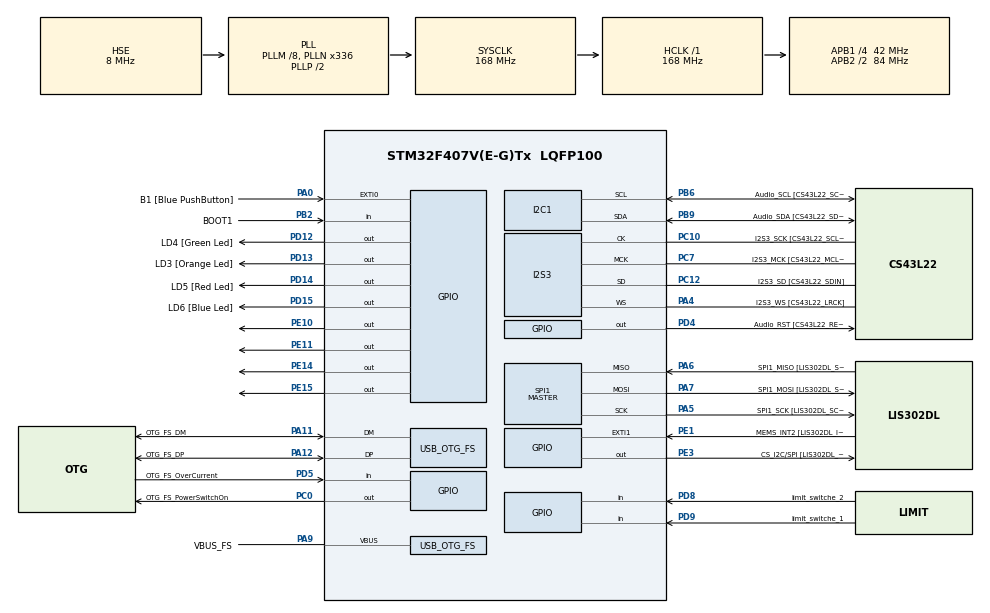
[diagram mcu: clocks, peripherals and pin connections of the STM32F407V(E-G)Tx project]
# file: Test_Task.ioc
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I2S3.AudioFreq-Half_Duplex_Master=I2S_AUDIOFREQ_96K
I2S3.ErrorAudioFreq=-2.34 %
I2S3.ErrorAudioFreq-Half_Duplex_Master=0.8 %
I2S3.FullDuplexMode=I2S_FULLDUPLEXMODE_DISABLE
I2S3.Instance=SPI$Index
I2S3.RealAudioFreq=93.75 KHz
I2S3.RealAudioFreq-Half_Duplex_Master=96.774 KHz
I2S3.VirtualMode=I2S_MODE_MASTER
Mcu.Family=STM32F4
Mcu.Name=STM32F407V(E-G)Tx
Mcu.Package=LQFP100
NVIC.OTG_FS_IRQn=true\:0\:0\:false\:false\:true\:true\:true\:true
NVIC.PriorityGroup=NVIC_PRIORITYGROUP_0
PA0-WKUP.GPIO_Label=B1 [Blue PushButton]
PA0-WKUP.GPIO_ModeDefaultEXTI=GPIO_MODE_EVT_RISING
PA0-WKUP.GPIO_PuPd=GPIO_NOPULL
PA0-WKUP.Signal=GPXTI0
PA10.GPIO_Label=OTG_FS_ID
PA10.GPIO_Mode=GPIO_MODE_AF_PP
PA10.GPIO_PuPd=GPIO_NOPULL
PA10.GPIO_Speed=GPIO_SPEED_FREQ_LOW
PA10.Signal=USB_OTG_FS_ID
PA11.GPIO_Label=OTG_FS_DM
PA11.GPIO_Mode=GPIO_MODE_AF_PP
PA11.GPIO_PuPd=GPIO_NOPULL
PA11.GPIO_Speed=GPIO_SPEED_FREQ_LOW
PA11.Mode=Host_Only
PA11.Signal=USB_OTG_FS_DM
PA12.GPIO_Label=OTG_FS_DP
PA12.GPIO_Mode=GPIO_MODE_AF_PP
PA12.GPIO_PuPd=GPIO_NOPULL
PA12.GPIO_Speed=GPIO_SPEED_FREQ_LOW
PA12.Mode=Host_Only
PA12.Signal=USB_OTG_FS_DP
PA13.GPIO_Label=SWDIO
PA13.Mode=Serial_Wire
PA13.Signal=SYS_JTMS-SWDIO
PA14.GPIO_Label=SWCLK
PA14.Mode=Serial_Wire
PA14.Signal=SYS_JTCK-SWCLK
PA4.GPIO_Label=I2S3_WS [CS43L22_LRCK]
PA4.GPIO_Mode=GPIO_MODE_AF_PP
PA4.GPIO_PuPd=GPIO_NOPULL
PA4.GPIO_Speed=GPIO_SPEED_FREQ_LOW
PA4.Mode=Half_Duplex_Master
PA4.Signal=I2S3_WS
PA5.GPIO_Label=SPI1_SCK [LIS302DL_SCL/SPC]
PA5.GPIO_Mode=GPIO_MODE_AF_PP
PA5.GPIO_PuPd=GPIO_NOPULL
PA5.GPIO_Speed=GPIO_SPEED_FREQ_LOW
PA5.Mode=Full_Duplex_Master
PA5.Signal=SPI1_SCK
PA6.GPIO_Label=SPI1_MISO [LIS302DL_SDO]
PA6.GPIO_Mode=GPIO_MODE_AF_PP
PA6.GPIO_PuPd=GPIO_NOPULL
PA6.GPIO_Speed=GPIO_SPEED_FREQ_LOW
PA6.Mode=Full_Duplex_Master
PA6.Signal=SPI1_MISO
PA7.GPIO_Label=SPI1_MOSI [LIS302DL_SDA/SDI/SDO]
PA7.GPIO_Mode=GPIO_MODE_AF_PP
PA7.GPIO_PuPd=GPIO_NOPULL
PA7.GPIO_Speed=GPIO_SPEED_FREQ_LOW
PA7.Mode=Full_Duplex_Master
PA7.Signal=SPI1_MOSI
PA9.GPIO_Label=VBUS_FS
PA9.GPIO_Mode=GPIO_MODE_INPUT
PA9.GPIO_PuPd=GPIO_NOPULL
PA9.Mode=Activate_VBUS
PA9.Signal=USB_OTG_FS_VBUS
PB10.GPIO_Label=CLK_IN [MP45DT02_CLK]
PB10.GPIO_Mode=GPIO_MODE_AF_PP
PB10.GPIO_PuPd=GPIO_NOPULL
PB10.GPIO_Speed=GPIO_SPEED_FREQ_LOW
PB10.Signal=I2S2_CK
PB2.GPIO_Label=BOOT1
PB2.GPIO_Mode=GPIO_MODE_INPUT
PB2.GPIO_PuPd=GPIO_NOPULL
PB2.Signal=GPIO_Input
PB3.GPIO_Label=SWO
PB3.Signal=SYS_JTDO-SWO
PB6.GPIO_Label=Audio_SCL [CS43L22_SCL]
PB6.GPIO_Mode=GPIO_MODE_AF_OD
PB6.GPIO_Pu=GPIO_PULLUP
PB6.GPIO_PuPd=GPIO_NOPULL
PB6.GPIO_Speed=GPIO_SPEED_FREQ_LOW
PB6.Mode=I2C
PB6.Signal=I2C1_SCL
PB9.GPIO_Label=Audio_SDA [CS43L22_SDA]
PB9.GPIO_Mode=GPIO_MODE_AF_OD
PB9.GPIO_Pu=GPIO_PULLUP
PB9.GPIO_PuPd=GPIO_NOPULL
PB9.GPIO_Speed=GPIO_SPEED_FREQ_LOW
PB9.Mode=I2C
PB9.Signal=I2C1_SDA
PC0.GPIO_Label=OTG_FS_PowerSwitchOn
PC0.GPIO_PuPd=GPIO_NOPULL
PC0.GPIO_Speed=GPIO_SPEED_FREQ_LOW
PC0.PinState=GPIO_PIN_SET
PC0.Signal=GPIO_Output
PC10.GPIO_Label=I2S3_SCK [CS43L22_SCLK]
PC10.GPIO_Mode=GPIO_MODE_AF_PP
PC10.GPIO_PuPd=GPIO_NOPULL
PC10.GPIO_Speed=GPIO_SPEED_FREQ_LOW
PC10.Mode=Half_Duplex_Master
PC10.Signal=I2S3_CK
PC12.GPIO_Label=I2S3_SD [CS43L22_SDIN]
PC12.GPIO_Mode=GPIO_MODE_AF_PP
PC12.GPIO_PuPd=GPIO_NOPULL
PC12.GPIO_Speed=GPIO_SPEED_FREQ_LOW
PC12.Mode=Half_Duplex_Master
PC12.Signal=I2S3_SD
PC14-OSC32_IN.GPIO_Label=PC14-OSC32_IN
PC14-OSC32_IN.Mode=LSE-External-Oscillator
PC14-OSC32_IN.Signal=RCC_OSC32_IN
PC15-OSC32_OUT.GPIO_Label=PC15-OSC32_OUT
PC15-OSC32_OUT.Mode=LSE-External-Oscillator
PC15-OSC32_OUT.Signal=RCC_OSC32_OUT
PC3.GPIO_Label=PDM_OUT [MP45DT02_DOUT]
PC3.GPIO_Mode=GPIO_MODE_AF_PP
PC3.GPIO_PuPd=GPIO_NOPULL
PC3.GPIO_Speed=GPIO_SPEED_FREQ_LOW
PC3.Signal=I2S2_SD
PC7.GPIO_Label=I2S3_MCK [CS43L22_MCLK]
PC7.GPIO_Mode=GPIO_MODE_AF_PP
PC7.GPIO_PuPd=GPIO_NOPULL
PC7.GPIO_Speed=GPIO_SPEED_FREQ_LOW
PC7.Mode=Master_Clock_Activated
PC7.Signal=I2S3_MCK
PD12.GPIO_Label=LD4 [Green Led]
PD12.GPIO_PuPd=GPIO_NOPULL
PD12.GPIO_Speed=GPIO_SPEED_FREQ_LOW
PD12.Signal=GPIO_Output
PD13.GPIO_Label=LD3 [Orange Led]
PD13.GPIO_PuPd=GPIO_NOPULL
PD13.GPIO_Speed=GPIO_SPEED_FREQ_LOW
PD13.Signal=GPIO_Output
PD14.GPIO_Label=LD5 [Red Led]
PD14.GPIO_PuPd=GPIO_NOPULL
PD14.GPIO_Speed=GPIO_SPEED_FREQ_LOW
PD14.Signal=GPIO_Output
PD15.GPIO_Label=LD6 [Blue Led]
PD15.GPIO_PuPd=GPIO_NOPULL
PD15.GPIO_Speed=GPIO_SPEED_FREQ_LOW
PD15.Signal=GPIO_Output
PD4.GPIO_Label=Audio_RST [CS43L22_RESET]
PD4.GPIO_PuPd=GPIO_NOPULL
PD4.GPIO_Speed=GPIO_SPEED_FREQ_LOW
PD4.Signal=GPIO_Output
PD5.GPIO_Label=OTG_FS_OverCurrent
PD5.GPIO_Mode=GPIO_MODE_INPUT
PD5.GPIO_PuPd=GPIO_NOPULL
PD5.Signal=GPIO_Input
PD8.GPIO_Label=limit_switche_2
PD8.Signal=GPIO_Input
PD9.GPIO_Label=limit_switche_1
PD9.Signal=GPIO_Input
PE1.GPIO_Label=MEMS_INT2 [LIS302DL_INT2]
PE1.GPIO_ModeDefaultEXTI=GPIO_MODE_EVT_RISING
PE1.GPIO_PuPd=GPIO_NOPULL
PE1.Signal=GPXTI1
PE10.Signal=GPIO_Output
PE11.Signal=GPIO_Output
PE14.Signal=GPIO_Output
PE15.Signal=GPIO_Output
PE3.GPIO_Label=CS_I2C/SPI [LIS302DL_CS_I2C/SPI]
PE3.GPIO_PuPd=GPIO_NOPULL
PE3.GPIO_Speed=GPIO_SPEED_FREQ_LOW
PE3.Signal=GPIO_Output
PH0-OSC_IN.GPIO_Label=PH0-OSC_IN
PH0-OSC_IN.Mode=HSE-External-Oscillator
PH0-OSC_IN.Signal=RCC_OSC_IN
PH1-OSC_OUT.GPIO_Label=PH1-OSC_OUT
PH1-OSC_OUT.Mode=HSE-External-Oscillator
PH1-OSC_OUT.Signal=RCC_OSC_OUT
ProjectManager.HeapSize=0x200
ProjectManager.StackSize=0x400
ProjectManager.TargetToolchain=STM32CubeIDE
RCC.48MHZClocksFreq_Value=48000000
RCC.AHBFreq_Value=168000000
RCC.APB1CLKDivider=RCC_HCLK_DIV4
RCC.APB1Freq_Value=42000000
RCC.APB1TimFreq_Value=84000000
RCC.APB2CLKDivider=RCC_HCLK_DIV2
RCC.APB2Freq_Value=84000000
RCC.APB2TimFreq_Value=168000000
RCC.CortexFreq_Value=168000000
RCC.HCLKFreq_Value=168000000
RCC.HSE_VALUE=8000000
RCC.HSI_VALUE=16000000
RCC.PLLM=8
RCC.PLLN=336
RCC.PLLQ=7
RCC.SYSCLKFreq_VALUE=168000000
RCC.SYSCLKSource=RCC_SYSCLKSOURCE_PLLCLK
RCC.VCOOutputFreq_Value=336000000
SPI1.BaudRatePrescaler-Full_Duplex_Master=SPI_BAUDRATEPRESCALER_2
SPI1.CalculateBaudRate-Full_Duplex_Master=42.0 MBits/s
SPI1.Direction=SPI_DIRECTION_2LINES
SPI1.Mode=SPI_MODE_MASTER
SPI1.Mode-Full_Duplex_Master=SPI_MODE_MASTER
SPI1.VirtualType=VM_MASTER
USB_HOST.BSP.number=1
USB_HOST.USBH_HandleTypeDef-CDC_FS=hUsbHostFS
USB_HOST.VirtualModeFS=Cdc
USB_HOST0.BSP.STBoard=false
USB_HOST0.BSP.api=Unknown
USB_HOST0.BSP.instance=PC0
USB_HOST0.BSP.ip=GPIO
USB_HOST0.BSP.mode=Output
USB_HOST0.BSP.name=Drive_VBUS_FS
USB_HOST0.BSP.solution=PC0
USB_OTG_FS.VirtualMode=Host_Only
USB_OTG_FS.phy_itface=HCD_PHY_EMBEDDED
VP_USB_HOST_VS_USB_HOST_CDC_FS.Mode=CDC_FS
board=STM32F407G-DISC1

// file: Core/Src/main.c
/* USER CODE BEGIN Header */
/**
  ******************************************************************************
  * @file           : main.c
  * @brief          : Main program body
  ******************************************************************************
  * @attention
  *
  * Copyright (c) 2025 STMicroelectronics.
  * All rights reserved.
  *
  * This software is licensed under terms that can be found in the LICENSE file
  * in the root directory of this software component.
  * If no LICENSE file comes with this software, it is provided AS-IS.
  *
  ******************************************************************************
  */
/* USER CODE END Header */
#include "main.h"
#include "usb_host.h"

/* USER CODE BEGIN Includes */
#include "homing.h"
#include "homing_porting.h"
#include "hw_simulation.h"
/* USER CODE END Includes */

I2C_HandleTypeDef hi2c1;

I2S_HandleTypeDef hi2s3;

SPI_HandleTypeDef hspi1;

/* USER CODE BEGIN PV */
static HomingCtx_t homing;
static bool test_running = false;
volatile HomingState_t debug_current_state = HOMING_STATE_IDLE;

/* USER CODE END PV */

void SystemClock_Config(void);
static void MX_GPIO_Init(void);
static void MX_I2C1_Init(void);
static void MX_I2S3_Init(void);
static void MX_SPI1_Init(void);
void MX_USB_HOST_Process(void);

int main(void)
{

  /* MCU Configuration--------------------------------------------------------*/

  /* Reset of all peripherals, Initializes the Flash interface and the Systick. */
  HAL_Init();

  /* Configure the system clock */
  SystemClock_Config();

  /* Initialize all configured peripherals */
  MX_GPIO_Init();
  MX_I2C1_Init();
  MX_I2S3_Init();
  MX_SPI1_Init();
  MX_USB_HOST_Init();
  /* USER CODE BEGIN 2 */
  Homing_Init(&homing);
  GPIO_InitTypeDef GPIO_InitStruct = {0};
  __HAL_RCC_GPIOE_CLK_ENABLE();
  GPIO_InitStruct.Pin = GPIO_PIN_10|GPIO_PIN_11;
  GPIO_InitStruct.Mode = GPIO_MODE_OUTPUT_PP;
  GPIO_InitStruct.Pull = GPIO_NOPULL;
  GPIO_InitStruct.Speed = GPIO_SPEED_FREQ_LOW;
  HAL_GPIO_Init(GPIOE, &GPIO_InitStruct);

  /* USER CODE END 2 */

  /* Infinite loop */
  /* USER CODE BEGIN WHILE */

//  Homing_Start(&homing);
  /* USER CODE BEGIN WHILE */
  /* Replace your while(1) loop with this corrected version */

  while (1) {
      uint32_t now = HAL_GetTick();

      // Auto-start test after 3 seconds
      if (!test_running && now > 3000) {
          test_running = true;
          Homing_Start(&homing);
      }
      HW_SimulationUpdate(now);

      // Run homing step
      if (test_running) {
    	  Homing_Update(&homing);
      }

      // LED indication
      HomingState_t state = Homing_GetState(&homing);
      HAL_GPIO_WritePin(GPIOD, LD3_Pin|LD4_Pin|LD5_Pin|LD6_Pin, GPIO_PIN_RESET);

      switch (state) {
      	  case HOMING_STATE_IDLE:
                   // All LEDs OFF
      		  HAL_GPIO_WritePin(GPIOD, LD3_Pin | LD5_Pin | LD6_Pin | LD4_Pin, GPIO_PIN_RESET);
              break;
          case HOMING_STATE_MOVE_TO_LEFT:
          case HOMING_STATE_MOVE_TO_LEFT_MEASURE:
              HAL_GPIO_WritePin(GPIOD, LD3_Pin, GPIO_PIN_SET);   // Orange
              break;

          case HOMING_STATE_MOVE_TO_RIGHT_MEASURE:
              HAL_GPIO_WritePin(GPIOD, LD6_Pin|LD5_Pin, GPIO_PIN_SET); // Blue+Red
              if (HW_RightSwitchRaw()) {
                  HAL_GPIO_WritePin(GPIOD, LD4_Pin, GPIO_PIN_SET);
              }
              break;

          case HOMING_STATE_MOVE_TO_MIDDLE:
              HAL_GPIO_WritePin(GPIOD, LD6_Pin, GPIO_PIN_SET);   // Blue only
              break;

          case HOMING_STATE_DONE:
              HAL_GPIO_WritePin(GPIOD, LD4_Pin, GPIO_PIN_SET);   // Green
              static uint32_t success_start = 0;
              if (success_start == 0) success_start = now;
              if (now - success_start > 5000) {
                  test_running = false;
                  success_start = 0;

                  Homing_Init(&homing); // Restarts the test cleanly
              }
              break;
          case HOMING_STATE_ERROR:
              HAL_GPIO_WritePin(GPIOD, LD3_Pin|LD4_Pin|LD5_Pin|LD6_Pin, GPIO_PIN_SET);
              static uint32_t error_start = 0;
              if (error_start == 0) error_start = now;
              if (now - error_start > 2000) {
                  test_running = false;
                  error_start = 0;
                  Homing_Init(&homing);
              }
              break;
      }

      HAL_Delay(100);
  }
  /* USER CODE END WHILE */
  /* USER CODE END 3 */
}

void SystemClock_Config(void)
{
  RCC_OscInitTypeDef RCC_OscInitStruct = {0};
  RCC_ClkInitTypeDef RCC_ClkInitStruct = {0};

  /** Configure the main internal regulator output voltage
  */
  __HAL_RCC_PWR_CLK_ENABLE();
  __HAL_PWR_VOLTAGESCALING_CONFIG(PWR_REGULATOR_VOLTAGE_SCALE1);

  /** Initializes the RCC Oscillators according to the specified parameters
  * in the RCC_OscInitTypeDef structure.
  */
  RCC_OscInitStruct.OscillatorType = RCC_OSCILLATORTYPE_HSE;
  RCC_OscInitStruct.HSEState = RCC_HSE_ON;
  RCC_OscInitStruct.PLL.PLLState = RCC_PLL_ON;
  RCC_OscInitStruct.PLL.PLLSource = RCC_PLLSOURCE_HSE;
  RCC_OscInitStruct.PLL.PLLM = 8;
  RCC_OscInitStruct.PLL.PLLN = 336;
  RCC_OscInitStruct.PLL.PLLP = RCC_PLLP_DIV2;
  RCC_OscInitStruct.PLL.PLLQ = 7;
  if (HAL_RCC_OscConfig(&RCC_OscInitStruct) != HAL_OK)
  {
    Error_Handler();
  }

  /** Initializes the CPU, AHB and APB buses clocks
  */
  RCC_ClkInitStruct.ClockType = RCC_CLOCKTYPE_HCLK|RCC_CLOCKTYPE_SYSCLK
                              |RCC_CLOCKTYPE_PCLK1|RCC_CLOCKTYPE_PCLK2;
  RCC_ClkInitStruct.SYSCLKSource = RCC_SYSCLKSOURCE_PLLCLK;
  RCC_ClkInitStruct.AHBCLKDivider = RCC_SYSCLK_DIV1;
  RCC_ClkInitStruct.APB1CLKDivider = RCC_HCLK_DIV4;
  RCC_ClkInitStruct.APB2CLKDivider = RCC_HCLK_DIV2;

  if (HAL_RCC_ClockConfig(&RCC_ClkInitStruct, FLASH_LATENCY_5) != HAL_OK)
  {
    Error_Handler();
  }
}

static void MX_I2C1_Init(void)
{

  hi2c1.Instance = I2C1;
  hi2c1.Init.ClockSpeed = 100000;
  hi2c1.Init.DutyCycle = I2C_DUTYCYCLE_2;
  hi2c1.Init.OwnAddress1 = 0;
  hi2c1.Init.AddressingMode = I2C_ADDRESSINGMODE_7BIT;
  hi2c1.Init.DualAddressMode = I2C_DUALADDRESS_DISABLE;
  hi2c1.Init.OwnAddress2 = 0;
  hi2c1.Init.GeneralCallMode = I2C_GENERALCALL_DISABLE;
  hi2c1.Init.NoStretchMode = I2C_NOSTRETCH_DISABLE;
  if (HAL_I2C_Init(&hi2c1) != HAL_OK)
  {
    Error_Handler();
  }

}

static void MX_I2S3_Init(void)
{

  hi2s3.Instance = SPI3;
  hi2s3.Init.Mode = I2S_MODE_MASTER_TX;
  hi2s3.Init.Standard = I2S_STANDARD_PHILIPS;
  hi2s3.Init.DataFormat = I2S_DATAFORMAT_16B;
  hi2s3.Init.MCLKOutput = I2S_MCLKOUTPUT_ENABLE;
  hi2s3.Init.AudioFreq = I2S_AUDIOFREQ_96K;
  hi2s3.Init.CPOL = I2S_CPOL_LOW;
  hi2s3.Init.ClockSource = I2S_CLOCK_PLL;
  hi2s3.Init.FullDuplexMode = I2S_FULLDUPLEXMODE_DISABLE;
  if (HAL_I2S_Init(&hi2s3) != HAL_OK)
  {
    Error_Handler();
  }

}

static void MX_SPI1_Init(void)
{

  /* SPI1 parameter configuration*/
  hspi1.Instance = SPI1;
  hspi1.Init.Mode = SPI_MODE_MASTER;
  hspi1.Init.Direction = SPI_DIRECTION_2LINES;
  hspi1.Init.DataSize = SPI_DATASIZE_8BIT;
  hspi1.Init.CLKPolarity = SPI_POLARITY_LOW;
  hspi1.Init.CLKPhase = SPI_PHASE_1EDGE;
  hspi1.Init.NSS = SPI_NSS_SOFT;
  hspi1.Init.BaudRatePrescaler = SPI_BAUDRATEPRESCALER_2;
  hspi1.Init.FirstBit = SPI_FIRSTBIT_MSB;
  hspi1.Init.TIMode = SPI_TIMODE_DISABLE;
  hspi1.Init.CRCCalculation = SPI_CRCCALCULATION_DISABLE;
  hspi1.Init.CRCPolynomial = 10;
  if (HAL_SPI_Init(&hspi1) != HAL_OK)
  {
    Error_Handler();
  }

}

static void MX_GPIO_Init(void)
{
  GPIO_InitTypeDef GPIO_InitStruct = {0};

  /* GPIO Ports Clock Enable */
  __HAL_RCC_GPIOE_CLK_ENABLE();
  __HAL_RCC_GPIOC_CLK_ENABLE();
  __HAL_RCC_GPIOH_CLK_ENABLE();
  __HAL_RCC_GPIOA_CLK_ENABLE();
  __HAL_RCC_GPIOB_CLK_ENABLE();
  __HAL_RCC_GPIOD_CLK_ENABLE();

  /*Configure GPIO pin Output Level */
  HAL_GPIO_WritePin(GPIOE, CS_I2C_SPI_Pin|GPIO_PIN_10|GPIO_PIN_11|GPIO_PIN_14
                          |GPIO_PIN_15, GPIO_PIN_RESET);

  /*Configure GPIO pin Output Level */
  HAL_GPIO_WritePin(OTG_FS_PowerSwitchOn_GPIO_Port, OTG_FS_PowerSwitchOn_Pin, GPIO_PIN_SET);

  /*Configure GPIO pin Output Level */
  HAL_GPIO_WritePin(GPIOD, LD4_Pin|LD3_Pin|LD5_Pin|LD6_Pin
                          |Audio_RST_Pin, GPIO_PIN_RESET);

  /*Configure GPIO pins : CS_I2C_SPI_Pin PE10 PE11 PE14
                           PE15 */
  GPIO_InitStruct.Pin = CS_I2C_SPI_Pin|GPIO_PIN_10|GPIO_PIN_11|GPIO_PIN_14
                          |GPIO_PIN_15;
  GPIO_InitStruct.Mode = GPIO_MODE_OUTPUT_PP;
  GPIO_InitStruct.Pull = GPIO_NOPULL;
  GPIO_InitStruct.Speed = GPIO_SPEED_FREQ_LOW;
  HAL_GPIO_Init(GPIOE, &GPIO_InitStruct);

  /*Configure GPIO pin : OTG_FS_PowerSwitchOn_Pin */
  GPIO_InitStruct.Pin = OTG_FS_PowerSwitchOn_Pin;
  GPIO_InitStruct.Mode = GPIO_MODE_OUTPUT_PP;
  GPIO_InitStruct.Pull = GPIO_NOPULL;
  GPIO_InitStruct.Speed = GPIO_SPEED_FREQ_LOW;
  HAL_GPIO_Init(OTG_FS_PowerSwitchOn_GPIO_Port, &GPIO_InitStruct);

  /*Configure GPIO pin : PDM_OUT_Pin */
  GPIO_InitStruct.Pin = PDM_OUT_Pin;
  GPIO_InitStruct.Mode = GPIO_MODE_AF_PP;
  GPIO_InitStruct.Pull = GPIO_NOPULL;
  GPIO_InitStruct.Speed = GPIO_SPEED_FREQ_LOW;
  GPIO_InitStruct.Alternate = GPIO_AF5_SPI2;
  HAL_GPIO_Init(PDM_OUT_GPIO_Port, &GPIO_InitStruct);

  /*Configure GPIO pin : B1_Pin */

  GPIO_InitStruct.Pin = B1_Pin;
  GPIO_InitStruct.Mode = GPIO_MODE_EVT_RISING;  // â† THIS IS WRONG!
  GPIO_InitStruct.Pull = GPIO_NOPULL;           // â† THIS IS ALSO WRONG!
  HAL_GPIO_Init(B1_GPIO_Port, &GPIO_InitStruct);
  /*Configure GPIO pin : BOOT1_Pin */
  GPIO_InitStruct.Pin = BOOT1_Pin;
  GPIO_InitStruct.Mode = GPIO_MODE_INPUT;
  GPIO_InitStruct.Pull = GPIO_NOPULL;
  HAL_GPIO_Init(BOOT1_GPIO_Port, &GPIO_InitStruct);

  /*Configure GPIO pin : CLK_IN_Pin */
  GPIO_InitStruct.Pin = CLK_IN_Pin;
  GPIO_InitStruct.Mode = GPIO_MODE_AF_PP;
  GPIO_InitStruct.Pull = GPIO_NOPULL;
  GPIO_InitStruct.Speed = GPIO_SPEED_FREQ_LOW;
  GPIO_InitStruct.Alternate = GPIO_AF5_SPI2;
  HAL_GPIO_Init(CLK_IN_GPIO_Port, &GPIO_InitStruct);

  /*Configure GPIO pins : limit_switche_2_Pin limit_switche_1_Pin OTG_FS_OverCurrent_Pin */
  GPIO_InitStruct.Pin = limit_switche_2_Pin|limit_switche_1_Pin|OTG_FS_OverCurrent_Pin;
  GPIO_InitStruct.Mode = GPIO_MODE_INPUT;
  GPIO_InitStruct.Pull = GPIO_NOPULL;
  HAL_GPIO_Init(GPIOD, &GPIO_InitStruct);

  /*Configure GPIO pins : LD4_Pin LD3_Pin LD5_Pin LD6_Pin
                           Audio_RST_Pin */
  GPIO_InitStruct.Pin = LD4_Pin|LD3_Pin|LD5_Pin|LD6_Pin
                          |Audio_RST_Pin;
  GPIO_InitStruct.Mode = GPIO_MODE_OUTPUT_PP;
  GPIO_InitStruct.Pull = GPIO_NOPULL;
  GPIO_InitStruct.Speed = GPIO_SPEED_FREQ_LOW;
  HAL_GPIO_Init(GPIOD, &GPIO_InitStruct);

  /*Configure GPIO pin : MEMS_INT2_Pin */
  GPIO_InitStruct.Pin = MEMS_INT2_Pin;
  GPIO_InitStruct.Mode = GPIO_MODE_EVT_RISING;
  GPIO_InitStruct.Pull = GPIO_NOPULL;
  HAL_GPIO_Init(MEMS_INT2_GPIO_Port, &GPIO_InitStruct);

}

void Error_Handler(void)
{
  __disable_irq();
  while (1)
  {
  }
}
